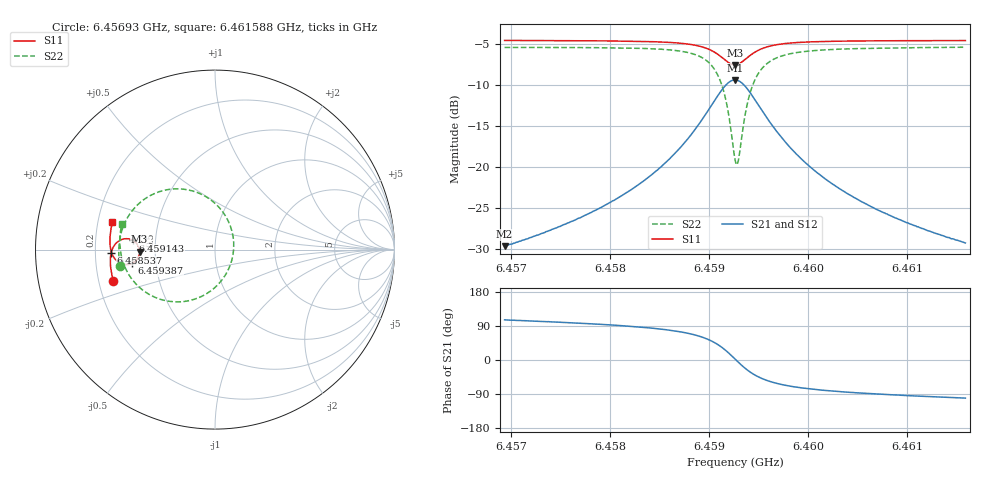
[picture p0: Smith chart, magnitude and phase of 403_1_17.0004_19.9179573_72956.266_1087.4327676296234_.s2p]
#  HZ  S  RI  R  50.00
! Rohde & Schwarz Vector Network Analyzer
! Rohde-Schwarz,ZNB20-2Port,1311601062101988,3.16
! Created: UTC 3/20/2024, 11:10:07 PM
! freq[Hz]  re:S11  im:S11  re:S21  im:S21  re:S12  im:S12  re:S22  im:S22
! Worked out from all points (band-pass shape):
!   401 points, 6.45693 GHz to 6.461588 GHz, reference 50 ohm
!   highest |S21| = -9.36 dB at 6.459259 GHz (marker M1); lowest = -29.6 dB at 6.45693 GHz (marker M2)
!   |S21| within 3 dB of the highest: 6.459027 GHz to 6.459493 GHz (466 kHz wide, 0.00721 % of centre)
!   lowest |S11| = -7.5 dB at 6.459259 GHz (marker M3), VSWR 2.45, Z = 20.4 - j0.549 ohm
!   |S11| at or under -10 dB: nowhere
!   |S22| runs from -19.7 to -5.4 dB; largest |S21 - S12| = 0.013
!   S11 on the Smith chart (normalised r, x): 6.45693 GHz: 0.26, -0.14; 6.458537 GHz: 0.27, -0.01; 6.459143 GHz: 0.37, +0.05; 6.459387 GHz: 0.37, -0.07; 6.461588 GHz: 0.26, +0.12
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6.4569304e9  -0.5656 -0.1757  -0.00912 0.0318  -0.00739 0.0319  -0.5297 -0.0889
6.4577106e9  -0.5802 -0.1079  -0.00591 0.0496  -0.00357 0.049  -0.5359 0.00132
6.4581181e9  -0.5834 -0.0675  -0.000543 0.0674  0.00261 0.0662  -0.5293 0.0644
6.4584908e9  -0.5799 -0.0237  0.0135 0.0974  0.0173 0.0948  -0.504 0.1461
6.4585373e9  -0.5785 -0.0173  0.0168 0.1027  0.0208 0.0998  -0.4978 0.1591
6.4587469e9  -0.5665 0.0145  0.0425 0.1342  0.0466 0.1295  -0.45 0.2303
6.4588983e9  -0.5456 0.0407  0.0844 0.1642  0.0878 0.1578  -0.3726 0.2942
6.4590497e9  -0.5 0.0605  0.1749 0.1832  0.1759 0.176  -0.2072 0.3384
6.4591429e9  -0.4559 0.0508  0.2638 0.1531  0.264 0.147  -0.0428 0.2903
6.4591895e9  -0.435 0.0322  0.3072 0.1109  0.3082 0.1058  0.0392 0.2156
6.4592593e9  -0.4203 -0.0111  0.3402 0.0155  0.3438 0.00879  0.1043 0.039
6.459271e9  -0.4208 -0.019  0.3402 -0.00206  0.344 -0.00936  0.1041 0.0059
6.4592943e9  -0.4241 -0.0345  0.3349 -0.0362  0.3386 -0.0451  0.0936 -0.059
6.4593874e9  -0.4611 -0.0761  0.2657 -0.1362  0.265 -0.1491  -0.0455 -0.2448
6.459434e9  -0.4838 -0.083  0.222 -0.1585  0.2182 -0.1711  -0.1332 -0.2818
6.4594922e9  -0.5084 -0.0821  0.1734 -0.1678  0.1669 -0.1788  -0.2291 -0.2908
6.4596436e9  -0.5495 -0.0605  0.0911 -0.152  0.0827 -0.1579  -0.3852 -0.2383
6.4598066e9  -0.5695 -0.033  0.0489 -0.125  0.0417 -0.1275  -0.4603 -0.1681
6.4600395e9  -0.5812 0.000672  0.0222 -0.0958  0.0165 -0.0964  -0.5045 -0.0913
6.4604005e9  -0.5858 0.043  0.00601 -0.0686  0.00206 -0.0683  -0.5261 -0.0108
6.4608197e9  -0.5836 0.0849  -0.00124 -0.0512  -0.00405 -0.0503  -0.53 0.055
6.4615883e9  -0.5712 0.1527  -0.00634 -0.0341  -0.0081 -0.0332  -0.5187 0.1448
